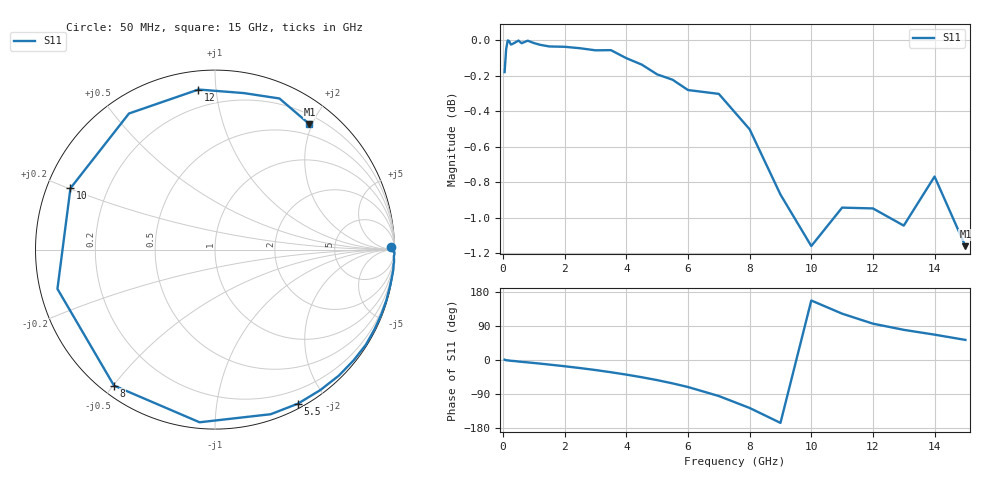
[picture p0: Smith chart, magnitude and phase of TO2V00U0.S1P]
! SIEMENS Small Signal Semiconductors
! BAT15-03W
! Si Schottky Diode in SOD323
! VR = 2 V
! S-Parameters:  May  1996
# GHz  S  MA  R  50
!  f  S11
! GHz  MAG  ANG
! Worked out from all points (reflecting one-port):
!   31 points, 50 MHz to 15 GHz, reference 50 ohm
!   lowest |S11| = -1.2 dB at 15 GHz (marker M1), VSWR 14.98, Z = 16.5 + j98.1 ohm
!   phase of S11 starts at 1 deg and turns -308 deg over the sweep
!   S11 on the Smith chart (normalised r, x): 50 MHz: 67, +45; 5.5 GHz: 0.05, -1.67; 8 GHz: 0.04, -0.50; 10 GHz: 0.07, +0.20; 12 GHz: 0.10, +0.90; 15 GHz: 0.33, +1.96
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0.05  0.9797 0.8
0.1  0.9943 -0.7
0.15  1 -0.8
0.2  0.9996 -1.6
0.25  0.9974 -2.0
0.4  0.9988 -3.0
0.5  0.9999 -4.1
0.8  0.9998 -6.3
1.2  0.9972 -9.5
1.5  0.9961 -12.1
2  0.9959 -16.5
2.5  0.9949 -21.3
3  0.9936 -26.5
3.5  0.9937 -32.3
4  0.9885 -38.6
4.5  0.9844 -45.5
5  0.9782 -53.1
5.5  0.9748 -61.7
6  0.9683 -71.3
7  0.9659 -95.1
8  0.9439 -126.6
9  0.9047 -166.0
10  0.8749 157.0
11  0.897 122.3
12  0.8966 95.9
13  0.8866 79.6
14  0.9153 66.9
15  0.8749 53.0
